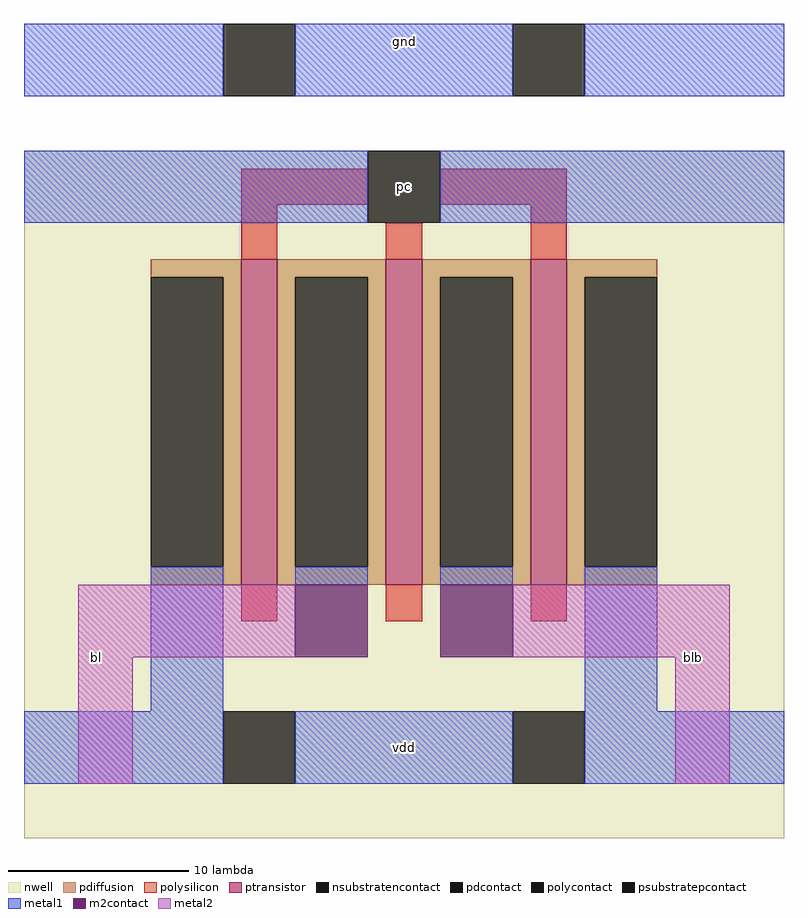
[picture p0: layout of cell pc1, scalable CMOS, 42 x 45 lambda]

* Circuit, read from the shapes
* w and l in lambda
.subckt pc1 bl blb gnd pc vdd
M1 bl pc vdd vdd pfet w=18 l=2
M2 blb pc bl vdd pfet w=18 l=2
M3 vdd pc blb vdd pfet w=18 l=2
.ends

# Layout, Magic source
magic
tech scmos
<< nwell >>
rect -257 -57 -215 -19
<< ptransistor >>
rect -245 -43 -243 -25
rect -237 -43 -235 -25
rect -229 -43 -227 -25
<< pdiffusion >>
rect -250 -26 -245 -25
rect -246 -42 -245 -26
rect -250 -43 -245 -42
rect -243 -26 -237 -25
rect -243 -42 -242 -26
rect -238 -42 -237 -26
rect -243 -43 -237 -42
rect -235 -26 -229 -25
rect -235 -42 -234 -26
rect -230 -42 -229 -26
rect -235 -43 -229 -42
rect -227 -26 -222 -25
rect -227 -42 -226 -26
rect -227 -43 -222 -42
<< pdcontact >>
rect -250 -42 -246 -26
rect -242 -42 -238 -26
rect -234 -42 -230 -26
rect -226 -42 -222 -26
<< psubstratepcontact >>
rect -246 -16 -242 -12
rect -230 -16 -226 -12
<< nsubstratencontact >>
rect -246 -54 -242 -50
rect -230 -54 -226 -50
<< polysilicon >>
rect -245 -22 -238 -20
rect -245 -25 -243 -22
rect -234 -22 -227 -20
rect -237 -25 -235 -23
rect -229 -25 -227 -22
rect -245 -45 -243 -43
rect -237 -45 -235 -43
rect -229 -45 -227 -43
<< polycontact >>
rect -238 -23 -234 -19
<< metal1 >>
rect -257 -16 -246 -12
rect -242 -16 -230 -12
rect -226 -16 -215 -12
rect -257 -23 -238 -19
rect -234 -23 -215 -19
rect -250 -50 -246 -42
rect -242 -43 -238 -42
rect -234 -43 -230 -42
rect -226 -50 -222 -42
rect -257 -54 -246 -50
rect -242 -54 -230 -50
rect -226 -54 -215 -50
<< m2contact >>
rect -242 -47 -238 -43
rect -234 -47 -230 -43
<< metal2 >>
rect -254 -47 -242 -43
rect -230 -47 -218 -43
rect -254 -54 -251 -47
rect -221 -54 -218 -47
<< labels >>
rlabel metal1 -236 -52 -236 -52 1 vdd
rlabel metal1 -236 -13 -236 -13 5 gnd
rlabel metal2 -253 -47 -253 -47 3 bl
rlabel metal2 -220 -47 -220 -47 1 blb
rlabel polycontact -236 -21 -236 -21 1 pc
<< end >>
